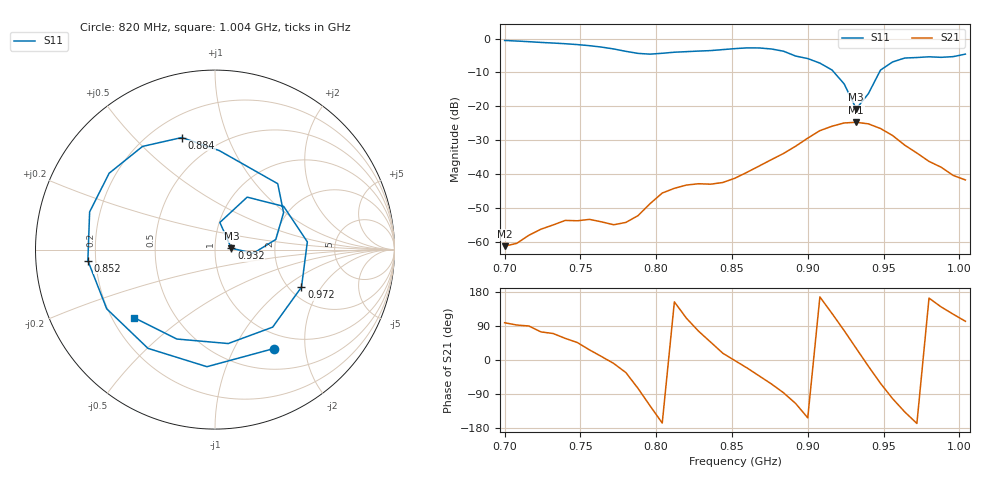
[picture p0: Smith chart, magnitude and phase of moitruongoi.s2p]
# Hz S RI R 50
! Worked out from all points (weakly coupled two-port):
!   39 points, 700 MHz to 1.004 GHz, reference 50 ohm
!   highest |S21| = -24.74 dB at 932 MHz (marker M1); lowest = -61.3 dB at 700 MHz (marker M2)
!   lowest |S11| = -20.8 dB at 932 MHz (marker M3), VSWR 1.20, Z = 60 + j0.946 ohm
!   |S11| at or under -10 dB: 917.4 MHz to 947.2 MHz (29.78 MHz wide, 3.19 % of centre)
!   S12 and S22 are empty: the file has one direction only
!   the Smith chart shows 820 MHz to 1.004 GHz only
!   S11 on the Smith chart (normalised r, x): 820 MHz: 0.78, -1.46; 852 MHz: 0.17, -0.04; 884 MHz: 0.32, +0.70; 932 MHz: 1.20, +0.02; 972 MHz: 2.32, -1.34; 1.004 GHz: 0.29, -0.34
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7e8  0.7557 0.5564  -0.000124 0.000848  0 0  0 0
7.24e8  0.8427 -0.2447  0.000418 0.00147  0 0  0 0
7.4e8  0.4656 -0.6987  0.00112 0.00173  0 0  0 0
7.56e8  -0.1824 -0.7641  0.00191 0.000959  0 0  0 0
7.72e8  -0.6654 -0.225  0.00175 -0.000284  0 0  0 0
7.8e8  -0.6173 0.1984  0.00161 -0.00105  0 0  0 0
7.88e8  -0.2941 0.5281  0.000634 -0.00234  0 0  0 0
7.96e8  0.1941 0.5559  -0.00189 -0.00312  0 0  0 0
8.04e8  0.5596 0.2348  -0.00508 -0.00123  0 0  0 0
8.2e8  0.3277 -0.5512  -0.00235 0.00644  0 0  0 0
8.36e8  -0.3735 -0.5502  0.00482 0.00516  0 0  0 0
8.52e8  -0.7083 -0.0614  0.00866 -0.00026  0 0  0 0
8.84e8  -0.1847 0.6245  0.00126 -0.02  0 0  0 0
9e8  0.3496 0.367  -0.0301 -0.0156  0 0  0 0
9.08e8  0.3822 0.2061  -0.0424 0.0102  0 0  0 0
9.24e8  0.2135 -0.0206  0.0121 0.0554  0 0  0 0
9.32e8  0.0911 0.00781  0.05 0.0294  0 0  0 0
9.4e8  0.0271 0.1513  0.0527 -0.0156  0 0  0 0
9.56e8  0.3823 0.241  -0.00776 -0.0361  0 0  0 0
9.72e8  0.4819 -0.2089  -0.0199 -0.00441  0 0  0 0
9.88e8  0.0737 -0.5233  -0.00965 0.00808  0 0  0 0
1.004e9  -0.4519 -0.3787  -0.00173 0.00798  0 0  0 0
